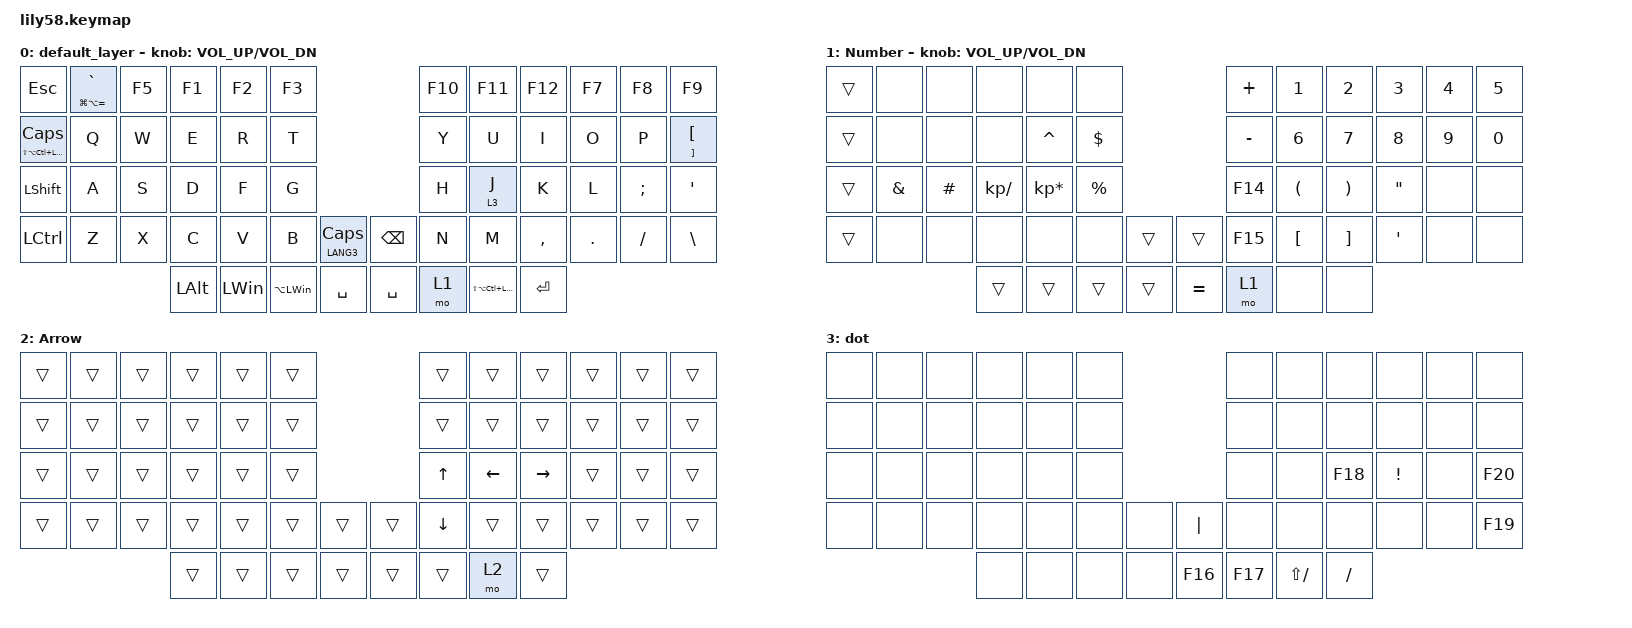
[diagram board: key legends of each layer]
/*
 * Copyright (c) 2020 The ZMK Contributors
 *
 * SPDX-License-Identifier: MIT
 */

#include <behaviors.dtsi>
#include <dt-bindings/zmk/keys.h>

/ {
    combos {
        compatible = "zmk,combos";

        tab {
            bindings = <&kp TAB>;
            key-positions = <17 16>;
        };
    };

    behaviors {
        ss_hs_modmorph: ss_hs_modmorph {
            compatible = "zmk,behavior-mod-morph";
            label = "SS_HS_MODMORPH";
            bindings = <&kp M>, <&kp RIGHT_BRACKET>;

            #binding-cells = <0>;
            mods = <(MOD_LSFT|MOD_RSFT)>;
        };

        kh_hs_tapdance: kh_hs_tapdance {
            compatible = "zmk,behavior-tap-dance";
            label = "KH_HS_TAPDANCE";
            #binding-cells = <0>;
            tapping-term-ms = <200>;
            bindings = <&kp LEFT_BRACKET>, <&kp RIGHT_BRACKET>;
        };

        hrm: hrm {
            compatible = "zmk,behavior-hold-tap";
            #binding-cells = <2>;
            flavor = "tap-preferred";
            tapping-term-ms = <450>;
            quick-tap-ms = <450>;
            require-prior-idle-ms = <125>;
            bindings = <&kp>, <&kp>;
        };

        hyper: hyper {
            compatible = "zmk,behavior-hold-tap";
            label = "HYPER";
            bindings = <&kp>, <&kp>;

            #binding-cells = <2>;
            flavor = "balanced";
            tapping-term-ms = <250>;
            quick-tap-ms = <250>;
            require-prior-idle-ms = <150>;
        };
    };

    keymap {
        compatible = "zmk,keymap";

        default_layer {
            // ------------------------------------------------------------------------------------------------------------
            // |  ESC  |  1  |  2  |  3   |  4   |  5   |                   |  6   |  7    |  8    |  9   |   0   |   `   |
            // |  TAB  |  Q  |  W  |  E   |  R   |  T   |                   |  Y   |  U    |  I    |  O   |   P   |   -   |
            // |  CTRL |  A  |  S  |  D   |  F   |  G   |                   |  H   |  J    |  K    |  L   |   ;   |   '   |
            // | SHIFT |  Z  |  X  |  C   |  V   |  B   |   "["  |  |  "]"  |  N   |  M    |  ,    |  .   |   /   | SHIFT |
            //                     | ALT  | GUI  | LOWER|  SPACE |  | ENTER | RAISE| BSPC  | GUI   |

            bindings = <
&kp ESCAPE                        &mt LG(LA(EQUAL)) GRAVE  &kp F5  &kp F1        &kp F2        &kp F3                                             &kp F10  &kp F11               &kp F12    &kp F7   &kp F8    &kp F9
&hyper LS(LA(LC(LEFT_WIN))) CLCK  &kp Q                    &kp W   &kp E         &kp R         &kp T                                              &kp Y    &kp U                 &kp I      &kp O    &kp P     &mt RIGHT_BRACKET LEFT_BRACKET
&kp LEFT_SHIFT                    &kp A                    &kp S   &kp D         &kp F         &kp G                                              &kp H    &lt 3 J               &kp K      &kp L    &kp SEMI  &kp SQT
&kp LEFT_CONTROL                  &kp Z                    &kp X   &kp C         &kp V         &kp B             &mt LANG3 CAPS    &kp BACKSPACE  &kp N    &kp M                 &kp COMMA  &kp DOT  &kp FSLH  &kp BACKSLASH
                                                                   &kp LEFT_ALT  &kp LEFT_WIN  &kp LA(LEFT_WIN)  &kp SPACE         &kp SPACE      &mo 1    &kp LS(LA(LC(LCMD)))  &kp RET
            >;

            sensor-bindings = <&inc_dec_kp C_VOL_UP C_VOL_DN>;
        };

        Number {
            bindings = <
&trans  &none          &none      &none          &none            &none                             &kp PLUS   &kp NUMBER_1          &kp NUMBER_2           &kp NUMBER_3       &kp NUMBER_4  &kp N5
&trans  &none          &none      &none          &kp CARET        &kp DOLLAR                        &kp MINUS  &kp NUMBER_6          &kp N7                 &kp N8             &kp NUMBER_9  &kp NUMBER_0
&trans  &kp AMPERSAND  &kp POUND  &kp KP_DIVIDE  &kp KP_ASTERISK  &kp PERCENT                       &kp F14    &kp LEFT_PARENTHESIS  &kp RIGHT_PARENTHESIS  &kp DOUBLE_QUOTES  &none         &none
&trans  &none          &none      &none          &none            &none        &trans    &trans     &kp F15    &kp LEFT_BRACKET      &kp RIGHT_BRACKET      &kp APOS           &none         &none
                                  &trans         &trans           &trans       &trans    &kp EQUAL  &mo 1      &none                 &none
            >;

            sensor-bindings = <&inc_dec_kp C_VOL_UP C_VOL_DN>;
        };

        Arrow {
            bindings = <
&trans  &trans  &trans  &trans  &trans  &trans                    &trans        &trans          &trans     &trans  &trans  &trans
&trans  &trans  &trans  &trans  &trans  &trans                    &trans        &trans          &trans     &trans  &trans  &trans
&trans  &trans  &trans  &trans  &trans  &trans                    &kp UP_ARROW  &kp LEFT_ARROW  &kp RIGHT  &trans  &trans  &trans
&trans  &trans  &trans  &trans  &trans  &trans  &trans    &trans  &kp DOWN      &trans          &trans     &trans  &trans  &trans
                        &trans  &trans  &trans  &trans    &trans  &trans        &mo 2           &trans
            >;
        };

        dot {
            bindings = <
&none  &none  &none  &none  &none  &none                     &none    &none          &none      &none            &none  &none
&none  &none  &none  &none  &none  &none                     &none    &none          &none      &none            &none  &none
&none  &none  &none  &none  &none  &none                     &none    &none          &kp F18    &kp EXCLAMATION  &none  &kp F20
&none  &none  &none  &none  &none  &none  &none    &kp PIPE  &none    &none          &none      &none            &none  &kp F19
                     &none  &none  &none  &none    &kp F16   &kp F17  &kp LS(SLASH)  &kp SLASH
            >;
        };
    };
};
